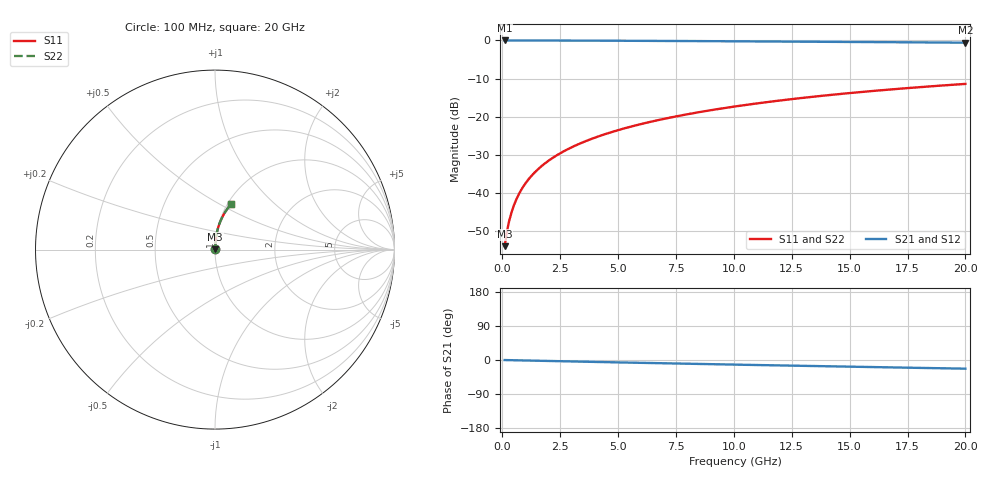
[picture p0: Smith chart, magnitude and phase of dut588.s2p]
! Touchstone file exported from HFSS 2024.1.0
!  File:  C:/UserFiles/LocalFiles/RDL_TSV_Batchsim/temp_RDL_top_588_1779682330.aedt
!  Generated:  12:14:50 PM May 25, 2026
!  Design:  RDL_top
!  Project:  temp_RDL_top_588_1779682330
!  Setup:  Setup1
!  Solution:  Sweep
! Variables:
!  dtsv = 10.80580581um
!  hbump = 3um
!  htsv = 81.23um
!  ldown = 100um
!  lrdl = 273.01um
!  p = 40
!  p1 = 51.61um
!  rhole = 1um
!  t = 450um
!  tdown = 3.915915916um
!  trdl = 4.46um
!  wdown = 15.38538539um
!  wrdl = 16.26um
# GHz S MA R 50.000000
! Terminal data exported
! Port[1] = Box2_T1
! Port[2] = Box2_T2
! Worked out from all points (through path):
!   200 points, 100 MHz to 20 GHz, reference 50 ohm
!   highest |S21| = -0.01 dB at 100 MHz (marker M1); lowest = -0.6 dB at 20 GHz (marker M2)
!   group delay of S21, straight-line fit = 3.16 ps
!   lowest |S11| = -53.9 dB at 100 MHz (marker M3), VSWR 1.00, Z = 50.1 + j0.139 ohm
!   |S11| at or under -10 dB: start of sweep to end of sweep
!   |S22| runs from -53.9 to -11.4 dB; largest |S21 - S12| = 4.3e-15
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0.1  0.002022 43.4  0.9985 -0.1  0.9985 -0.1  0.002022 43.4
! Gamma 0 0 0 0
! Port Impedance 50 0 50 0
0.2  0.00314 61.0  0.9985 -0.3  0.9985 -0.3  0.00314 61.0
0.3  0.004369 69.0  0.9984 -0.4  0.9984 -0.4  0.004369 69.0
0.4  0.005632 73.4  0.9983 -0.5  0.9983 -0.5  0.005632 73.4
0.5  0.006911 76.2  0.9983 -0.7  0.9983 -0.7  0.006911 76.2
0.6  0.008201 78.2  0.9982 -0.8  0.9982 -0.8  0.008201 78.2
0.8  0.0108 80.7  0.9981 -1.0  0.9981 -1.0  0.0108 80.7
1.1  0.01474 82.8  0.9978 -1.4  0.9978 -1.4  0.01474 82.8
1.5  0.02001 84.2  0.9975 -1.9  0.9975 -1.9  0.02001 84.2
1.8  0.02398 84.8  0.9971 -2.3  0.9971 -2.3  0.02398 84.8
2.1  0.02796 85.1  0.9967 -2.7  0.9967 -2.7  0.02796 85.1
2.7  0.03593 85.4  0.9957 -3.5  0.9957 -3.5  0.03593 85.4
3.5  0.04661 85.5  0.9941 -4.5  0.9941 -4.5  0.04661 85.5
4.2  0.05601 85.3  0.9924 -5.3  0.9924 -5.3  0.05601 85.3
5  0.06682 84.9  0.9903 -6.3  0.9903 -6.3  0.06682 84.9
5.9  0.07908 84.4  0.9877 -7.4  0.9877 -7.4  0.07908 84.4
6.8  0.09143 83.8  0.9849 -8.5  0.9849 -8.5  0.09143 83.8
8.3  0.1122 82.6  0.9799 -10.2  0.9799 -10.2  0.1122 82.6
10.1  0.1372 81.0  0.9736 -12.3  0.9736 -12.3  0.1372 81.0
13.4  0.1827 77.6  0.9612 -15.9  0.9612 -15.9  0.1827 77.6
16.7  0.227 74.0  0.9479 -19.4  0.9479 -19.4  0.227 74.0
20  0.2695 70.4  0.9338 -22.9  0.9338 -22.9  0.2695 70.4
